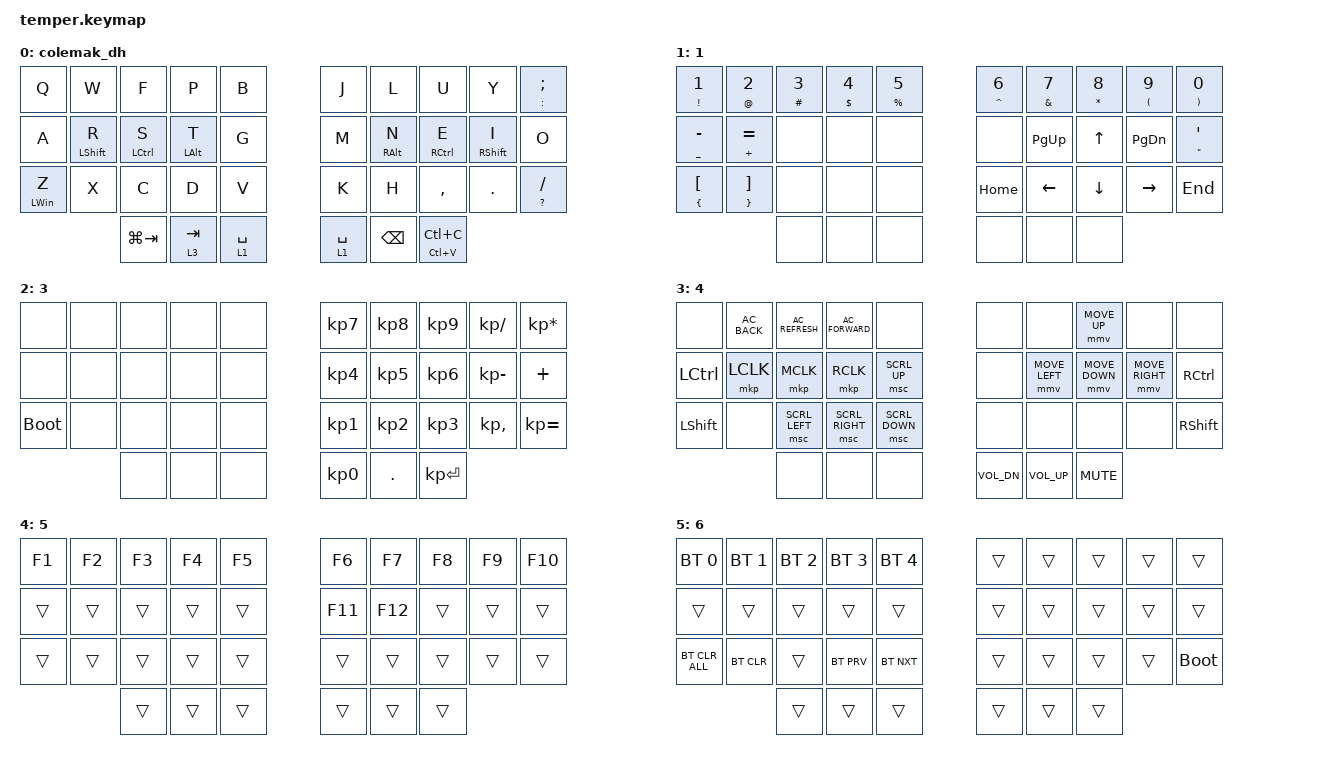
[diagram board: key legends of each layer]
#include <dt-bindings/zmk/mouse.h>
#include <input/processors.dtsi>
#include <behaviors.dtsi>
#include <dt-bindings/zmk/bt.h>
#include <dt-bindings/zmk/keys.h>
#include <dt-bindings/zmk/pointing.h>

/*

   &mmv_input_listener {
       input-processors = <&zip_xy_scaler 2 1>;
   };

   &msc_input_listener {
       input-processors = <&zip_xy_scaler 2 1>;
   };

 */

#define ZMK_MOUSE_DEFAULT_MOVE_VAL 1200  // 600
#define ZMK_MOUSE_DEFAULT_SCRL_VAL 20    // 10

&mt {
    tapping-term-ms = <200>;
    quick-tap-ms = <175>;
    flavor = "balanced";
    hold-trigger-key-positions = <16 17 18 13 12 11 20>;
    hold-trigger-on-release;
};

&mmv {
};

&msc {
};

&lt {
};

/ {
    behaviors {
        mmv {
            acceleration-exponent = <1>;      // 1
            time-to-max-speed-ms = <900>;    // 40
            delay-ms = <0>;                   // 0
        };

        msc {
            acceleration-exponent = <1>;      // 0
            time-to-max-speed-ms = <400>;      // 500
            delay-ms = <0>;                   //   10
        };
    };

    combos {
        compatible = "zmk,combos";

        a {
            bindings = <&mt GRAVE ESCAPE>;
            key-positions = <0 1>;
            layers = <0>;
        };

        b {
            bindings = <&kp CLCK>;
            key-positions = <10 11 12>;
        };

        d {
            bindings = <&kp DEL>;
            key-positions = <8 9>;
        };

        e {
            bindings = <&kp ENTER>;
            key-positions = <18 17>;
        };

        h {
            bindings = <&sys_reset>;
            key-positions = <1 12 13 24>;
        };

        j {
            bindings = <&sys_reset>;
            key-positions = <17 8 16 25>;
        };

        Backslash_pipe {
            bindings = <&mt PIPE BACKSLASH>;
            key-positions = <29 28>;
        };

        print_screen {
            bindings = <&screenshot>;
            key-positions = <20 21 22>;
        };

        num_layer {
            bindings = <&to 2>;
            key-positions = <6 7 5>;
        };

        bt_layer {
            bindings = <&to 5>;
            key-positions = <4 3 2>;
        };

        default_layer {
            bindings = <&to 0>;
            key-positions = <15 16 17 18>;
        };

        f_layer {
            bindings = <&to 4>;
            key-positions = <14 13 12 11>;
        };

        colemak_dh {
            bindings = <&tog 0>;
            key-positions = <29 19>;
        };

        grave {
            bindings = <&mt LS(GRAVE) GRAVE>;
            key-positions = <0 1>;
            layers = <1>;
        };
    };

    macros {
        screenshot: screenshot {
            compatible = "zmk,behavior-macro";
            #binding-cells = <0>;
            bindings =
                <&macro_press>,
                <&kp LS(LEFT_GUI)>,
                <&macro_tap>,
                <&kp S>,
                <&macro_release>,
                <&kp LS(LEFT_GUI)>;

            label = "SCREENSHOT";
        };
    };

    keymap {
        compatible = "zmk,keymap";

        colemak_dh {
            bindings = <
  &kp Q           &kp W             &kp F        &kp P           &kp B          &kp J        &kp L            &kp U            &kp Y              &mt COLON SEMI
  &kp A           &mt LEFT_SHIFT R  &mt LCTRL S  &mt LEFT_ALT T  &kp G          &kp M        &mt RIGHT_ALT N  &mt RCTRL E      &mt RIGHT_SHIFT I  &kp O
  &mt LEFT_WIN Z  &kp X             &kp C        &kp D           &kp V          &kp K        &kp H            &kp COMMA        &kp DOT            &mt QUESTION SLASH
                                    &kp LG(TAB)  &lt 3 TAB       &lt 1 SPACE    &lt 1 SPACE  &kp BACKSPACE    &mt LC(V) LC(C)
            >;

            label = "colemak_dh";
        };

        arrow_numbers {
            label = "1";
            bindings = <
  &mt EXCLAMATION NUMBER_1     &mt AT_SIGN NUMBER_2           &mt HASH NUMBER_3  &mt DOLLAR NUMBER_4  &mt PERCENT NUMBER_5    &mt CARET NUMBER_6  &mt AMPERSAND NUMBER_7  &mt ASTERISK NUMBER_8  &mt LEFT_PARENTHESIS NUMBER_9  &mt RIGHT_PARENTHESIS NUMBER_0
  &mt UNDERSCORE MINUS         &mt PLUS EQUAL                 &none              &none                &none                   &none               &kp PAGE_UP             &kp UP_ARROW           &kp PAGE_DOWN                  &mt DOUBLE_QUOTES SQT
  &mt LEFT_BRACE LEFT_BRACKET  &mt RIGHT_BRACE RIGHT_BRACKET  &none              &none                &none                   &kp HOME            &kp LEFT_ARROW          &kp DOWN               &kp RIGHT_ARROW                &kp END
                                                              &none              &none                &none                   &none               &none                   &none
            >;
        };

        number_layer {
            label = "3";
            bindings = <
  &none        &none  &none  &none  &none    &kp KP_NUMBER_7  &kp KP_NUMBER_8  &kp KP_NUMBER_9  &kp KP_DIVIDE    &kp KP_MULTIPLY
  &none        &none  &none  &none  &none    &kp KP_NUMBER_4  &kp KP_NUMBER_5  &kp KP_NUMBER_6  &kp KP_SUBTRACT  &kp PLUS
  &bootloader  &none  &none  &none  &none    &kp KP_NUMBER_1  &kp KP_NUMBER_2  &kp KP_NUMBER_3  &kp KP_COMMA     &kp KP_EQUAL
                      &none  &none  &none    &kp KP_NUMBER_0  &kp PERIOD       &kp KP_ENTER
            >;
        };

        mouse_layer {
            label = "4";
            bindings = <
  &none           &kp C_AC_BACK  &kp C_AC_REFRESH  &kp C_AC_FORWARD  &none             &none         &none           &mmv MOVE_UP    &none            &none
  &kp LCTRL       &mkp LCLK      &mkp MCLK         &mkp RCLK         &msc SCRL_UP      &none         &mmv MOVE_LEFT  &mmv MOVE_DOWN  &mmv MOVE_RIGHT  &kp RCTRL
  &kp LEFT_SHIFT  &none          &msc SCRL_LEFT    &msc SCRL_RIGHT   &msc SCRL_DOWN    &none         &none           &none           &none            &kp RIGHT_SHIFT
                                 &none             &none             &none             &kp C_VOL_DN  &kp C_VOL_UP    &kp K_MUTE
            >;
        };

        f_layer {
            label = "5";
            bindings = <
  &kp F1  &kp F2  &kp F3  &kp F4  &kp F5    &kp F6   &kp F7   &kp F8  &kp F9  &kp F10
  &trans  &trans  &trans  &trans  &trans    &kp F11  &kp F12  &trans  &trans  &trans
  &trans  &trans  &trans  &trans  &trans    &trans   &trans   &trans  &trans  &trans
                  &trans  &trans  &trans    &trans   &trans   &trans
            >;
        };

        bt_layer {
            label = "6";
            bindings = <
  &bt BT_SEL 0    &bt BT_SEL 1  &bt BT_SEL 2  &bt BT_SEL 3  &bt BT_SEL 4    &trans  &trans  &trans  &trans  &trans
  &trans          &trans        &trans        &trans        &trans          &trans  &trans  &trans  &trans  &trans
  &bt BT_CLR_ALL  &bt BT_CLR    &trans        &bt BT_PRV    &bt BT_NXT      &trans  &trans  &trans  &trans  &bootloader
                                &trans        &trans        &trans          &trans  &trans  &trans
            >;
        };
    };
};
